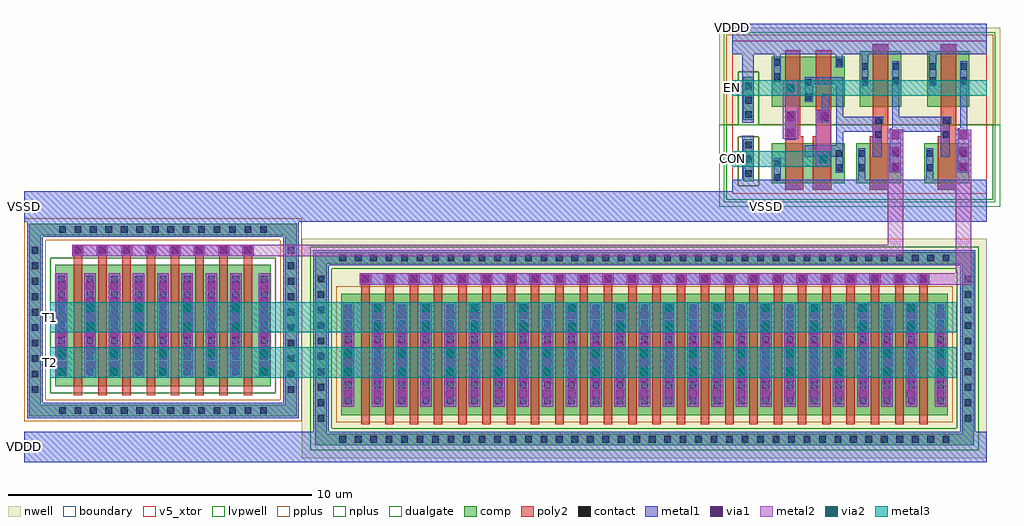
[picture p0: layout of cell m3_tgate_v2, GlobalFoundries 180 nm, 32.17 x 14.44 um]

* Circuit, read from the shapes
.subckt m3_tgate_v2 CON EN T1 T2 VDDD VSSD
XM1 T1 gf180mcu_fd_sc_mcu9t5v0__inv_1_4/I T2 VSSD nfet_03v3 w=4u l=0.28u m=8
XM2 n1 EN VSSD VSSD nfet_05v0 w=1.32u l=0.6u
XM3 gf180mcu_fd_sc_mcu9t5v0__inv_1_2/I CON n1 VSSD nfet_05v0 w=1.32u l=0.6u
XM4 gf180mcu_fd_sc_mcu9t5v0__inv_1_4/I gf180mcu_fd_sc_mcu9t5v0__inv_1_2/I VSSD VSSD nfet_05v0 w=1.32u l=0.6u
XM5 gf180mcu_fd_sc_mcu9t5v0__inv_1_4/ZN gf180mcu_fd_sc_mcu9t5v0__inv_1_4/I VSSD VSSD nfet_05v0 w=1.32u l=0.6u
XM6 T1 gf180mcu_fd_sc_mcu9t5v0__inv_1_4/ZN T2 VDDD pfet_03v3 w=4u l=0.28u m=24
XM7 gf180mcu_fd_sc_mcu9t5v0__inv_1_2/I EN VDDD VDDD pfet_05v0 w=1.645u l=0.5u
XM8 VDDD CON gf180mcu_fd_sc_mcu9t5v0__inv_1_2/I VDDD pfet_05v0 w=1.645u l=0.5u
XM9 gf180mcu_fd_sc_mcu9t5v0__inv_1_4/I gf180mcu_fd_sc_mcu9t5v0__inv_1_2/I VDDD VDDD pfet_05v0 w=1.83u l=0.5u
XM10 gf180mcu_fd_sc_mcu9t5v0__inv_1_4/ZN gf180mcu_fd_sc_mcu9t5v0__inv_1_4/I VDDD VDDD pfet_05v0 w=1.83u l=0.5u
.ends

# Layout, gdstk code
import gdstk
lib = gdstk.Library(unit=1e-6, precision=5e-09)
def R(c, l, rs):  # rectangles x0, y0, x1, y1
    for r in rs: c.add(gdstk.rectangle(r[:2], r[2:], *l))
def A(c, l, x, y, w, h, nx, ny, dx, dy):  # array of equal rectangles
    R(c, l, [(x+i*dx, y+j*dy, x+i*dx+w, y+j*dy+h) for i in range(nx) for j in range(ny)])
def P(c, l, *ps):  # polygons
    for p in ps: c.add(gdstk.Polygon(p, *l))
boundary = (0, 0)
nwell = (21, 0)
comp = (22, 0)
poly2 = (30, 0)
pplus = (31, 0)
nplus = (32, 0)
contact = (33, 0)
metal1 = (34, 0)
via1 = (35, 0)
metal2 = (36, 0)
via2 = (38, 0)
metal3 = (42, 0)
dualgate = (55, 0)
v5_xtor = (112, 1)
lvpwell = (204, 0)

pfet = lib.new_cell('pfet')
R(pfet, nwell, [(-1.76,-1.43,20.82,5.81)])
R(pfet, comp, [(-0.46,0,0,4), (0,0,19.06,4), (19.06,0,19.52,4)])
P(pfet, comp, [(-1.32,-0.99),(-1.32,4.99),(-0.94,4.99),(-0.94,-0.61),(20,-0.61),(20,4.99),(-1.32,4.99),(-1.32,5.37),(20.38,5.37),(20.38,-0.99)])
A(pfet, poly2, 0.19, -0.3, 0.28, 4.6, 24, 1, 0.8, 0)
A(pfet, poly2, 0.14, 4.3, 0.38, 0.38, 24, 1, 0.8, 0)
R(pfet, pplus, [(-0.63,-0.24,19.69,4.24)])
A(pfet, contact, -0.525, -0.91, 0.22, 0.22, 40, 2, 0.51, 5.98)
A(pfet, contact, -1.24, -0.215, 0.22, 0.22, 1, 10, 0, 0.51)
A(pfet, contact, 20.08, -0.215, 0.22, 0.22, 1, 10, 0, 0.51)
A(pfet, contact, -0.34, 0.36, 0.22, 0.22, 1, 7, 0, 0.51)
A(pfet, contact, 0.62, 0.36, 0.22, 0.22, 23, 7, 0.8, 0.51)
A(pfet, contact, 19.18, 0.36, 0.22, 0.22, 1, 7, 0, 0.51)
A(pfet, contact, 0.22, 4.38, 0.22, 0.22, 24, 1, 0.8, 0)
A(pfet, metal1, 0.54, 0.28, 0.38, 3.44, 23, 1, 0.8, 0)
A(pfet, metal1, 0.14, 4.3, 0.38, 0.38, 24, 1, 0.8, 0)
R(pfet, metal1, [(-0.42,0.28,-0.04,3.72), (19.1,0.28,19.48,3.72)])

gf180mcu_fd_sc_mcu9t5v0_ = lib.new_cell('gf180mcu_fd_sc_mcu9t5v0__nand2_1')
R(gf180mcu_fd_sc_mcu9t5v0_, boundary, [(0,0,2.8,5.04)])
R(gf180mcu_fd_sc_mcu9t5v0_, nwell, [(-0.43,2.265,3.23,5.47)])
R(gf180mcu_fd_sc_mcu9t5v0_, comp, [(0.185,0.345,2.585,1.665), (0.185,2.865,2.585,4.51)])
P(gf180mcu_fd_sc_mcu9t5v0_, poly2, [(0.625,0.125),(0.625,4.73),(1.125,4.73),(1.125,1.885),(1.225,1.885),(1.225,0.125)],
  [(1.545,0.125),(1.545,1.885),(1.645,1.885),(1.645,4.73),(2.145,4.73),(2.145,0.125)])
R(gf180mcu_fd_sc_mcu9t5v0_, pplus, [(-0.2,2.265,3,5.24)])
R(gf180mcu_fd_sc_mcu9t5v0_, nplus, [(-0.2,-0.2,3,2.265)])
R(gf180mcu_fd_sc_mcu9t5v0_, contact, [(0.255,0.415,0.475,0.635), (2.295,0.74,2.515,0.96), (0.255,0.885,0.475,1.105), (2.295,1.21,2.515,1.43), (1.835,2.39,2.055,2.61), (0.695,2.475,0.915,2.695), (1.275,3.08,1.495,3.3), (1.275,3.55,1.495,3.77), (0.255,3.75,0.475,3.97), (0.255,4.22,0.475,4.44), (2.295,4.22,2.515,4.44)])
R(gf180mcu_fd_sc_mcu9t5v0_, metal1, [(0.635,1.77,0.975,2.71), (1.83,2.33,2.09,3.27)])
P(gf180mcu_fd_sc_mcu9t5v0_, metal1, [(2.29,0.68),(2.29,1.21),(1.27,1.21),(1.27,1.59),(2.32,1.59),(2.32,3.6),(1.53,3.6),(1.53,3.02),(1.27,3.02),(1.27,3.83),(2.55,3.83),(2.55,0.68)],
  [(0,-0.45),(0,0.45),(0.25,0.45),(0.25,1.165),(0.48,1.165),(0.48,0.45),(2.8,0.45),(2.8,-0.45)],
  [(0.25,3.69),(0.25,4.59),(0,4.59),(0,5.49),(2.8,5.49),(2.8,4.59),(2.52,4.59),(2.52,4.16),(2.29,4.16),(2.29,4.59),(0.48,4.59),(0.48,3.69)])
R(gf180mcu_fd_sc_mcu9t5v0_, dualgate, [(-0.28,-0.28,3.08,5.32)])
R(gf180mcu_fd_sc_mcu9t5v0_, v5_xtor, [(0,0,2.8,5.04)])
R(gf180mcu_fd_sc_mcu9t5v0_, lvpwell, [(-0.43,-0.43,3.23,2.265)])
gf180mcu_fd_sc_mcu9t5v0_.add(gdstk.Label('A1', (1.96,2.52), layer=34, texttype=10))
gf180mcu_fd_sc_mcu9t5v0_.add(gdstk.Label('A2', (0.84,1.96), layer=34, texttype=10))
gf180mcu_fd_sc_mcu9t5v0_.add(gdstk.Label('VDD', (1.4,5.49), layer=34, texttype=10))
gf180mcu_fd_sc_mcu9t5v0_.add(gdstk.Label('VSS', (1.4,-0.45), layer=34, texttype=10))
gf180mcu_fd_sc_mcu9t5v0_.add(gdstk.Label('ZN', (1.96,1.4), layer=34, texttype=10))
gf180mcu_fd_sc_mcu9t5v0_.add(gdstk.Label('& Vendor GLOBALFOUNDRIES', (0,2), layer=63, texttype=63))
gf180mcu_fd_sc_mcu9t5v0_.add(gdstk.Label('& Product GF018hv5v_green_sc9', (0,1.5), layer=63, texttype=63))
gf180mcu_fd_sc_mcu9t5v0_.add(gdstk.Label('& Version 2015q2v2', (0,1), layer=63, texttype=63))
gf180mcu_fd_sc_mcu9t5v0_.add(gdstk.Label('& Metric 1.00', (0,0.5), layer=63, texttype=63))
gf180mcu_fd_sc_mcu9t5v0_.add(gdstk.Label('VNW', (0.345,3.92), layer=21, texttype=10))
gf180mcu_fd_sc_mcu9t5v0_.add(gdstk.Label('VPW', (0.34,-0.085), layer=204, texttype=10))

c_gf180mcu_fd_sc_mcu9t5v0_ = lib.new_cell('gf180mcu_fd_sc_mcu9t5v0__inv_1')
R(c_gf180mcu_fd_sc_mcu9t5v0_, boundary, [(0,0,2.24,5.04)])
R(c_gf180mcu_fd_sc_mcu9t5v0_, nwell, [(-0.43,2.265,2.67,5.47)])
R(c_gf180mcu_fd_sc_mcu9t5v0_, comp, [(0.18,0.345,1.66,1.665), (0.28,2.865,1.66,4.695)])
P(c_gf180mcu_fd_sc_mcu9t5v0_, poly2, [(0.62,0.125),(0.62,1.885),(0.72,1.885),(0.72,4.915),(1.22,4.915),(1.22,0.125)])
R(c_gf180mcu_fd_sc_mcu9t5v0_, pplus, [(-0.2,2.265,2.44,5.24)])
R(c_gf180mcu_fd_sc_mcu9t5v0_, nplus, [(-0.2,-0.2,2.44,2.265)])
R(c_gf180mcu_fd_sc_mcu9t5v0_, contact, [(0.25,0.74,0.47,0.96), (1.37,0.74,1.59,0.96), (0.25,1.21,0.47,1.43), (1.37,1.21,1.59,1.43), (0.79,1.835,1.01,2.055), (0.79,2.305,1.01,2.525), (0.35,3.61,0.57,3.83), (1.37,3.61,1.59,3.83), (0.35,4.08,0.57,4.3), (1.37,4.08,1.59,4.3)])
P(c_gf180mcu_fd_sc_mcu9t5v0_, metal1, [(0.71,1.21),(0.71,2.53),(1.07,2.53),(1.07,2.3),(1.015,2.3),(1.015,1.21)],
  [(1.27,0.68),(1.27,2.15),(1.365,2.15),(1.365,4.36),(1.595,4.36),(1.595,0.68)],
  [(0,-0.45),(0,0.45),(0.245,0.45),(0.245,1.49),(0.475,1.49),(0.475,0.45),(2.24,0.45),(2.24,-0.45)],
  [(0.345,3.55),(0.345,4.59),(0,4.59),(0,5.49),(2.24,5.49),(2.24,4.59),(0.575,4.59),(0.575,3.55)])
R(c_gf180mcu_fd_sc_mcu9t5v0_, dualgate, [(-0.28,-0.28,2.52,5.32)])
R(c_gf180mcu_fd_sc_mcu9t5v0_, v5_xtor, [(0,0,2.24,5.04)])
R(c_gf180mcu_fd_sc_mcu9t5v0_, lvpwell, [(-0.43,-0.43,2.67,2.265)])
c_gf180mcu_fd_sc_mcu9t5v0_.add(gdstk.Label('I', (0.84,1.96), layer=34, texttype=10))
c_gf180mcu_fd_sc_mcu9t5v0_.add(gdstk.Label('VDD', (1.12,5.49), layer=34, texttype=10))
c_gf180mcu_fd_sc_mcu9t5v0_.add(gdstk.Label('VSS', (1.12,-0.45), layer=34, texttype=10))
c_gf180mcu_fd_sc_mcu9t5v0_.add(gdstk.Label('ZN', (1.4,1.96), layer=34, texttype=10))
c_gf180mcu_fd_sc_mcu9t5v0_.add(gdstk.Label('& Vendor GLOBALFOUNDRIES', (0,2), layer=63, texttype=63))
c_gf180mcu_fd_sc_mcu9t5v0_.add(gdstk.Label('& Product GF018hv5v_green_sc9', (0,1.5), layer=63, texttype=63))
c_gf180mcu_fd_sc_mcu9t5v0_.add(gdstk.Label('& Version 2015q2v2', (0,1), layer=63, texttype=63))
c_gf180mcu_fd_sc_mcu9t5v0_.add(gdstk.Label('& Metric 1.00', (0,0.5), layer=63, texttype=63))
c_gf180mcu_fd_sc_mcu9t5v0_.add(gdstk.Label('VNW', (0.345,3.92), layer=21, texttype=10))
c_gf180mcu_fd_sc_mcu9t5v0_.add(gdstk.Label('VPW', (0.34,-0.085), layer=204, texttype=10))

c_gf180mcu_fd_sc_mcu9t5v0__ = lib.new_cell('gf180mcu_fd_sc_mcu9t5v0__filltie')
R(c_gf180mcu_fd_sc_mcu9t5v0__, boundary, [(0,0,1.12,5.04)])
R(c_gf180mcu_fd_sc_mcu9t5v0__, nwell, [(-0.43,2.265,1.55,5.47)])
R(c_gf180mcu_fd_sc_mcu9t5v0__, comp, [(0.36,0.41,0.72,1.785), (0.36,2.425,0.72,3.855)])
R(c_gf180mcu_fd_sc_mcu9t5v0__, pplus, [(0.2,0.25,0.88,1.865)])
P(c_gf180mcu_fd_sc_mcu9t5v0__, pplus, [(-0.2,2.265),(-0.2,5.24),(1.32,5.24),(1.32,2.265),(0.88,2.265),(0.88,4.015),(0.2,4.015),(0.2,2.265)])
P(c_gf180mcu_fd_sc_mcu9t5v0__, nplus, [(-0.2,-0.2),(-0.2,2.265),(0.2,2.265),(0.2,4.015),(0.88,4.015),(0.88,1.865),(0.2,1.865),(0.2,0.25),(0.88,0.25),(0.88,4.015),(0.88,2.265),(1.32,2.265),(1.32,-0.2)])
A(c_gf180mcu_fd_sc_mcu9t5v0__, contact, 0.43, 0.555, 0.22, 0.22, 1, 3, 0, 0.47)
A(c_gf180mcu_fd_sc_mcu9t5v0__, contact, 0.43, 2.495, 0.22, 0.22, 1, 3, 0, 0.47)
P(c_gf180mcu_fd_sc_mcu9t5v0__, metal1, [(0,-0.45),(0,0.45),(0.33,0.45),(0.33,1.91),(0.71,1.91),(0.71,0.45),(1.12,0.45),(1.12,-0.45)],
  [(0.33,2.34),(0.33,4.59),(0,4.59),(0,5.49),(1.12,5.49),(1.12,4.59),(0.71,4.59),(0.71,2.34)])
R(c_gf180mcu_fd_sc_mcu9t5v0__, dualgate, [(-0.28,-0.28,1.4,5.32)])
R(c_gf180mcu_fd_sc_mcu9t5v0__, v5_xtor, [(0,0,1.12,5.04)])
R(c_gf180mcu_fd_sc_mcu9t5v0__, lvpwell, [(-0.43,-0.43,1.55,2.265)])
c_gf180mcu_fd_sc_mcu9t5v0__.add(gdstk.Label('VSS', (0.56,-0.45), layer=34, texttype=10))
c_gf180mcu_fd_sc_mcu9t5v0__.add(gdstk.Label('VDD', (0.56,5.49), layer=34, texttype=10))
c_gf180mcu_fd_sc_mcu9t5v0__.add(gdstk.Label('& Vendor GLOBALFOUNDRIES', (0,2), layer=63, texttype=63))
c_gf180mcu_fd_sc_mcu9t5v0__.add(gdstk.Label('& Product GF018hv5v_green_sc9', (0,1.5), layer=63, texttype=63))
c_gf180mcu_fd_sc_mcu9t5v0__.add(gdstk.Label('& Version 2015q2v2', (0,1), layer=63, texttype=63))
c_gf180mcu_fd_sc_mcu9t5v0__.add(gdstk.Label('& Metric 1.00', (0,0.5), layer=63, texttype=63))

nfet = lib.new_cell('nfet')
R(nfet, comp, [(-0.42,0,0,4), (0,0,6.26,4), (6.26,0,6.68,4)])
P(nfet, comp, [(-1.28,-0.99),(-1.28,4.98),(-0.9,4.98),(-0.9,-0.61),(7.16,-0.61),(7.16,4.98),(-1.28,4.98),(-1.28,5.36),(7.54,5.36),(7.54,-0.99)])
A(nfet, poly2, 0.19, -0.3, 0.28, 4.6, 8, 1, 0.8, 0)
A(nfet, poly2, 0.15, 4.3, 0.36, 0.36, 8, 1, 0.8, 0)
P(nfet, pplus, [(-1.45,-1.16),(-1.45,4.81),(-0.73,4.81),(-0.73,-0.44),(6.99,-0.44),(6.99,4.81),(-1.45,4.81),(-1.45,5.53),(7.71,5.53),(7.71,-1.16)])
R(nfet, nplus, [(-0.59,-0.24,6.85,4.24)])
A(nfet, contact, -0.295, -0.91, 0.22, 0.22, 14, 2, 0.51, 5.97)
A(nfet, contact, -1.2, -0.22, 0.22, 0.22, 1, 10, 0, 0.51)
A(nfet, contact, 7.24, -0.22, 0.22, 0.22, 1, 10, 0, 0.51)
A(nfet, contact, -0.32, 0.36, 0.22, 0.22, 1, 7, 0, 0.51)
A(nfet, contact, 0.62, 0.36, 0.22, 0.22, 7, 7, 0.8, 0.51)
A(nfet, contact, 6.36, 0.36, 0.22, 0.22, 1, 7, 0, 0.51)
A(nfet, contact, 0.22, 4.37, 0.22, 0.22, 8, 1, 0.8, 0)
A(nfet, metal1, 0.54, 0.28, 0.38, 3.44, 7, 1, 0.8, 0)
A(nfet, metal1, 0.14, 4.29, 0.38, 0.38, 8, 1, 0.8, 0)
R(nfet, metal1, [(-0.4,0.28,-0.02,3.72), (6.28,0.28,6.66,3.72)])

m3_tgate_v2 = lib.new_cell('m3_tgate_v2')
R(m3_tgate_v2, metal1, [(12.885,2.2,12.945,3.55), (15.125,2.2,15.185,3.55), (10.2,3.85,10.32,4.29)])
A(m3_tgate_v2, via1, -5.41, -5.21, 0.26, 0.26, 1, 6, 0, 0.52)
A(m3_tgate_v2, via1, -4.45, -5.21, 0.26, 0.26, 23, 6, 0.8, 0.52)
A(m3_tgate_v2, via1, 14.11, -5.21, 0.26, 0.26, 1, 6, 0, 0.52)
A(m3_tgate_v2, via1, -14.86, -4.26, 0.26, 0.26, 1, 6, 0, 0.52)
A(m3_tgate_v2, via1, -13.92, -4.26, 0.26, 0.26, 7, 6, 0.8, 0.52)
A(m3_tgate_v2, via1, -8.18, -4.26, 0.26, 0.26, 1, 6, 0, 0.52)
A(m3_tgate_v2, via1, -4.85, -1.42, 0.26, 0.26, 24, 1, 0.8, 0)
A(m3_tgate_v2, via1, -14.32, -0.48, 0.26, 0.26, 8, 1, 0.8, 0)
A(m3_tgate_v2, via1, 12.625, 2.27, 0.26, 0.26, 1, 3, 0, 0.52)
A(m3_tgate_v2, via1, 14.865, 2.27, 0.26, 0.26, 1, 3, 0, 0.52)
R(m3_tgate_v2, via1, [(9.165,3.39,9.425,3.65), (9.165,3.91,9.425,4.17), (10.26,3.95,10.52,4.21)])
A(m3_tgate_v2, via2, -13.12, -4.49, 0.26, 0.26, 3, 2, 1.6, 0.62)
A(m3_tgate_v2, via2, -3.65, -4.49, 0.26, 0.26, 11, 2, 1.6, 0.62)
A(m3_tgate_v2, via2, -13.92, -3, 0.26, 0.26, 4, 2, 1.6, 0.62)
A(m3_tgate_v2, via2, -4.45, -3, 0.26, 0.26, 3, 2, 1.6, 0.62)
R(m3_tgate_v2, via2, [(-14.86,-4.49,-14.6,-4.23), (-8.18,-4.49,-7.92,-4.23), (-5.41,-4.49,-5.15,-4.23), (14.11,-4.49,14.37,-4.23), (-14.86,-3.87,-14.6,-3.61), (-8.18,-3.87,-7.92,-3.61), (-5.41,-3.87,-5.15,-3.61), (14.11,-3.87,14.37,-3.61), (0.355,-3,0.615,-2.74), (1.95,-3,2.21,-2.74), (3.55,-3,3.81,-2.74), (5.155,-3,5.415,-2.74), (6.75,-3,7.01,-2.74), (8.35,-3,8.61,-2.74), (9.955,-3,10.215,-2.74), (11.55,-3,11.81,-2.74), (13.15,-3,13.41,-2.74), (0.355,-2.38,0.615,-2.12), (1.95,-2.38,2.21,-2.12), (3.55,-2.38,3.81,-2.12), (5.155,-2.38,5.415,-2.12), (6.75,-2.38,7.01,-2.12), (8.35,-2.38,8.61,-2.12), (9.955,-2.38,10.215,-2.12), (11.55,-2.38,11.81,-2.12), (13.15,-2.38,13.41,-2.12), (10.24,2.53,10.5,2.79), (9.165,4.87,9.425,5.13)])
m3_tgate_v2.add(gdstk.FlexPath([(13.87,-1.29),(-4.91,-1.29)], 0.38, ends="flush", simple_path=True, layer=34, datatype=0))  # metal1
m3_tgate_v2.add(gdstk.FlexPath([(-6.43,-0.6),(15.14,-0.6),(15.14,-6.58),(-6.18,-6.58),(-6.18,-0.85)], 0.5, ends="flush", simple_path=True, layer=34, datatype=0))  # metal1
m3_tgate_v2.add(gdstk.FlexPath([(15.77,-6.83),(-15.97,-6.83)], 1, ends="flush", simple_path=True, layer=34, datatype=0))  # metal1
m3_tgate_v2.add(gdstk.FlexPath([(11.04,3.8),(12,3.8)], 0.5, ends="flush", simple_path=True, layer=34, datatype=0))  # metal1
m3_tgate_v2.add(gdstk.FlexPath([(12.885,3.8),(14.24,3.8)], 0.5, ends="flush", simple_path=True, layer=34, datatype=0))  # metal1
m3_tgate_v2.add(gdstk.FlexPath([(15.77,6.61),(7.37,6.61)], 1, ends="flush", simple_path=True, layer=34, datatype=0))  # metal1
m3_tgate_v2.add(gdstk.FlexPath([(15.77,1.09),(-15.97,1.09)], 1, ends="flush", simple_path=True, layer=34, datatype=0))  # metal1
m3_tgate_v2.add(gdstk.FlexPath([(-15.86,0.34),(-7.17,0.34),(-7.17,-5.63),(-15.61,-5.63),(-15.61,0.09)], 0.5, ends="flush", simple_path=True, layer=34, datatype=0))  # metal1
m3_tgate_v2.add(gdstk.FlexPath([(-14.38,-0.35),(-8.4,-0.35)], 0.38, ends="flush", simple_path=True, layer=34, datatype=0))  # metal1
m3_tgate_v2.add(gdstk.FlexPath([(-6.54,-0.6),(15.14,-0.6),(15.14,-6.58),(-6.18,-6.58),(-6.18,-0.96)], 0.72, ends="flush", simple_path=True, layer=32, datatype=0))  # nplus
m3_tgate_v2.add(gdstk.FlexPath([(15.245,-1.29),(-4.91,-1.29)], 0.38, ends="flush", simple_path=True, layer=36, datatype=0))  # metal2
m3_tgate_v2.add(gdstk.FlexPath([(-5.28,-5.5),(-5.28,-2.06)], 0.38, ends="flush", simple_path=True, layer=36, datatype=0))  # metal2
m3_tgate_v2.add(gdstk.FlexPath([(-4.32,-5.5),(-4.32,-2.06)], 0.38, ends="flush", simple_path=True, layer=36, datatype=0))  # metal2
m3_tgate_v2.add(gdstk.FlexPath([(-3.52,-5.5),(-3.52,-2.06)], 0.38, ends="flush", simple_path=True, layer=36, datatype=0))  # metal2
m3_tgate_v2.add(gdstk.FlexPath([(3.68,-5.5),(3.68,-2.06)], 0.38, ends="flush", simple_path=True, layer=36, datatype=0))  # metal2
m3_tgate_v2.add(gdstk.FlexPath([(2.88,-5.5),(2.88,-2.06)], 0.38, ends="flush", simple_path=True, layer=36, datatype=0))  # metal2
m3_tgate_v2.add(gdstk.FlexPath([(2.08,-5.5),(2.08,-2.06)], 0.38, ends="flush", simple_path=True, layer=36, datatype=0))  # metal2
m3_tgate_v2.add(gdstk.FlexPath([(1.28,-5.5),(1.28,-2.06)], 0.38, ends="flush", simple_path=True, layer=36, datatype=0))  # metal2
m3_tgate_v2.add(gdstk.FlexPath([(0.48,-5.5),(0.48,-2.06)], 0.38, ends="flush", simple_path=True, layer=36, datatype=0))  # metal2
m3_tgate_v2.add(gdstk.FlexPath([(-0.32,-5.5),(-0.32,-2.06)], 0.38, ends="flush", simple_path=True, layer=36, datatype=0))  # metal2
m3_tgate_v2.add(gdstk.FlexPath([(-1.12,-5.5),(-1.12,-2.06)], 0.38, ends="flush", simple_path=True, layer=36, datatype=0))  # metal2
m3_tgate_v2.add(gdstk.FlexPath([(-1.92,-5.5),(-1.92,-2.06)], 0.38, ends="flush", simple_path=True, layer=36, datatype=0))  # metal2
m3_tgate_v2.add(gdstk.FlexPath([(-2.72,-5.5),(-2.72,-2.06)], 0.38, ends="flush", simple_path=True, layer=36, datatype=0))  # metal2
m3_tgate_v2.add(gdstk.FlexPath([(10.37,2.41),(10.37,4.27)], 0.5, ends="flush", simple_path=True, layer=36, datatype=0))  # metal2
m3_tgate_v2.add(gdstk.FlexPath([(9.295,3.33),(9.295,5.25)], 0.5, ends="flush", simple_path=True, layer=36, datatype=0))  # metal2
m3_tgate_v2.add(gdstk.FlexPath([(4.48,-5.5),(4.48,-2.06)], 0.38, ends="flush", simple_path=True, layer=36, datatype=0))  # metal2
m3_tgate_v2.add(gdstk.FlexPath([(5.28,-5.5),(5.28,-2.06)], 0.38, ends="flush", simple_path=True, layer=36, datatype=0))  # metal2
m3_tgate_v2.add(gdstk.FlexPath([(6.08,-5.5),(6.08,-2.06)], 0.38, ends="flush", simple_path=True, layer=36, datatype=0))  # metal2
m3_tgate_v2.add(gdstk.FlexPath([(6.88,-5.5),(6.88,-2.06)], 0.38, ends="flush", simple_path=True, layer=36, datatype=0))  # metal2
m3_tgate_v2.add(gdstk.FlexPath([(7.68,-5.5),(7.68,-2.06)], 0.38, ends="flush", simple_path=True, layer=36, datatype=0))  # metal2
m3_tgate_v2.add(gdstk.FlexPath([(8.48,-5.5),(8.48,-2.06)], 0.38, ends="flush", simple_path=True, layer=36, datatype=0))  # metal2
m3_tgate_v2.add(gdstk.FlexPath([(14.24,-5.5),(14.24,-2.06)], 0.38, ends="flush", simple_path=True, layer=36, datatype=0))  # metal2
m3_tgate_v2.add(gdstk.FlexPath([(12.755,-0.16),(12.755,3.63)], 0.5, ends="flush", simple_path=True, layer=36, datatype=0))  # metal2
m3_tgate_v2.add(gdstk.FlexPath([(14.995,-1.1),(14.995,3.63)], 0.5, ends="flush", simple_path=True, layer=36, datatype=0))  # metal2
m3_tgate_v2.add(gdstk.FlexPath([(10.08,-5.5),(10.08,-2.06)], 0.38, ends="flush", simple_path=True, layer=36, datatype=0))  # metal2
m3_tgate_v2.add(gdstk.FlexPath([(10.88,-5.5),(10.88,-2.06)], 0.38, ends="flush", simple_path=True, layer=36, datatype=0))  # metal2
m3_tgate_v2.add(gdstk.FlexPath([(11.68,-5.5),(11.68,-2.06)], 0.38, ends="flush", simple_path=True, layer=36, datatype=0))  # metal2
m3_tgate_v2.add(gdstk.FlexPath([(12.48,-5.5),(12.48,-2.06)], 0.38, ends="flush", simple_path=True, layer=36, datatype=0))  # metal2
m3_tgate_v2.add(gdstk.FlexPath([(13.28,-5.5),(13.28,-2.06)], 0.38, ends="flush", simple_path=True, layer=36, datatype=0))  # metal2
m3_tgate_v2.add(gdstk.FlexPath([(9.28,-5.5),(9.28,-2.06)], 0.38, ends="flush", simple_path=True, layer=36, datatype=0))  # metal2
m3_tgate_v2.add(gdstk.FlexPath([(-8.99,-4.55),(-8.99,-1.11)], 0.38, ends="flush", simple_path=True, layer=36, datatype=0))  # metal2
m3_tgate_v2.add(gdstk.FlexPath([(-9.79,-4.55),(-9.79,-1.11)], 0.38, ends="flush", simple_path=True, layer=36, datatype=0))  # metal2
m3_tgate_v2.add(gdstk.FlexPath([(-10.59,-4.55),(-10.59,-1.11)], 0.38, ends="flush", simple_path=True, layer=36, datatype=0))  # metal2
m3_tgate_v2.add(gdstk.FlexPath([(-11.39,-4.55),(-11.39,-1.11)], 0.38, ends="flush", simple_path=True, layer=36, datatype=0))  # metal2
m3_tgate_v2.add(gdstk.FlexPath([(-12.19,-4.55),(-12.19,-1.11)], 0.38, ends="flush", simple_path=True, layer=36, datatype=0))  # metal2
m3_tgate_v2.add(gdstk.FlexPath([(-14.73,-4.55),(-14.73,-1.11)], 0.38, ends="flush", simple_path=True, layer=36, datatype=0))  # metal2
m3_tgate_v2.add(gdstk.FlexPath([(-8.05,-4.55),(-8.05,-1.11)], 0.38, ends="flush", simple_path=True, layer=36, datatype=0))  # metal2
m3_tgate_v2.add(gdstk.FlexPath([(13.005,-0.35),(-14.38,-0.35)], 0.38, ends="flush", simple_path=True, layer=36, datatype=0))  # metal2
m3_tgate_v2.add(gdstk.FlexPath([(-12.99,-4.55),(-12.99,-1.11)], 0.38, ends="flush", simple_path=True, layer=36, datatype=0))  # metal2
m3_tgate_v2.add(gdstk.FlexPath([(-13.79,-4.55),(-13.79,-1.11)], 0.38, ends="flush", simple_path=True, layer=36, datatype=0))  # metal2
m3_tgate_v2.add(gdstk.FlexPath([(15.77,5),(7.37,5)], 0.5, ends="flush", simple_path=True, layer=42, datatype=0))  # metal3
m3_tgate_v2.add(gdstk.FlexPath([(10.62,2.66),(7.37,2.66)], 0.5, ends="flush", simple_path=True, layer=42, datatype=0))  # metal3
m3_tgate_v2.add(gdstk.FlexPath([(14.78,-4.05),(-15.11,-4.05)], 1, ends="flush", simple_path=True, layer=42, datatype=0))  # metal3
m3_tgate_v2.add(gdstk.FlexPath([(14.78,-2.56),(-15.11,-2.56)], 1, ends="flush", simple_path=True, layer=42, datatype=0))  # metal3
m3_tgate_v2.add(gdstk.Reference(pfet, (-5.05,-5.78)))
m3_tgate_v2.add(gdstk.Reference(gf180mcu_fd_sc_mcu9t5v0_, (8.49,1.52)))
m3_tgate_v2.add(gdstk.Reference(c_gf180mcu_fd_sc_mcu9t5v0_, (11.29,1.52)))
m3_tgate_v2.add(gdstk.Reference(c_gf180mcu_fd_sc_mcu9t5v0__, (7.37,1.52)))
m3_tgate_v2.add(gdstk.Reference(c_gf180mcu_fd_sc_mcu9t5v0_, (13.53,1.52)))
m3_tgate_v2.add(gdstk.Reference(nfet, (-14.52,-4.83)))
m3_tgate_v2.add(gdstk.Label('VDDD', (-15.955,-6.83), layer=34, texttype=10))
m3_tgate_v2.add(gdstk.Label('VDDD', (7.385,6.995), layer=34, texttype=10))
m3_tgate_v2.add(gdstk.Label('VSSD', (8.505,1.085), layer=34, texttype=10))
m3_tgate_v2.add(gdstk.Label('VSSD', (-15.955,1.09), layer=34, texttype=10))
m3_tgate_v2.add(gdstk.Label('CON', (7.385,2.66), layer=42, texttype=10))
m3_tgate_v2.add(gdstk.Label('EN', (7.385,5), layer=42, texttype=10))
m3_tgate_v2.add(gdstk.Label('T1', (-15.095,-2.56), layer=42, texttype=10))
m3_tgate_v2.add(gdstk.Label('T2', (-15.095,-4.05), layer=42, texttype=10))

lib.write_gds('m3_tgate_v2.gds')
